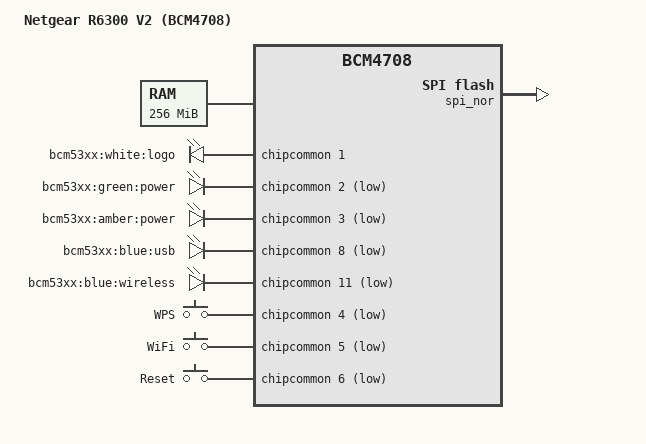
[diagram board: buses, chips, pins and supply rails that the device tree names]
// SPDX-License-Identifier: GPL-2.0-or-later OR MIT
/*
 * Broadcom BCM470X / BCM5301X ARM platform code.
 * DTS for Netgear R6300 V2
 *
 * Copyright (C) 2014 Rafał Miłecki <zajec5@gmail.com>
 */

/dts-v1/;

#include "bcm4708.dtsi"
#include "bcm5301x-nand-cs0-bch8.dtsi"

/ {
	compatible = "netgear,r6300v2", "brcm,bcm4708";
	model = "Netgear R6300 V2 (BCM4708)";

	chosen {
		bootargs = "console=ttyS0,115200";
	};

	memory {
		reg = <0x00000000 0x08000000
		       0x88000000 0x08000000>;
	};

	leds {
		compatible = "gpio-leds";

		logo {
			label = "bcm53xx:white:logo";
			gpios = <&chipcommon 1 GPIO_ACTIVE_HIGH>;
			linux,default-trigger = "default-on";
		};

		power0 {
			label = "bcm53xx:green:power";
			gpios = <&chipcommon 2 GPIO_ACTIVE_LOW>;
		};

		power1 {
			label = "bcm53xx:amber:power";
			gpios = <&chipcommon 3 GPIO_ACTIVE_LOW>;
			linux,default-trigger = "default-on";
		};

		usb {
			label = "bcm53xx:blue:usb";
			gpios = <&chipcommon 8 GPIO_ACTIVE_LOW>;
		};

		wireless {
			label = "bcm53xx:blue:wireless";
			gpios = <&chipcommon 11 GPIO_ACTIVE_LOW>;
		};
	};

	gpio-keys {
		compatible = "gpio-keys";
		#address-cells = <1>;
		#size-cells = <0>;

		wps {
			label = "WPS";
			linux,code = <KEY_WPS_BUTTON>;
			gpios = <&chipcommon 4 GPIO_ACTIVE_LOW>;
		};

		rfkill {
			label = "WiFi";
			linux,code = <KEY_RFKILL>;
			gpios = <&chipcommon 5 GPIO_ACTIVE_LOW>;
		};

		restart {
			label = "Reset";
			linux,code = <KEY_RESTART>;
			gpios = <&chipcommon 6 GPIO_ACTIVE_LOW>;
		};
	};
};

&spi_nor {
	status = "okay";
};
